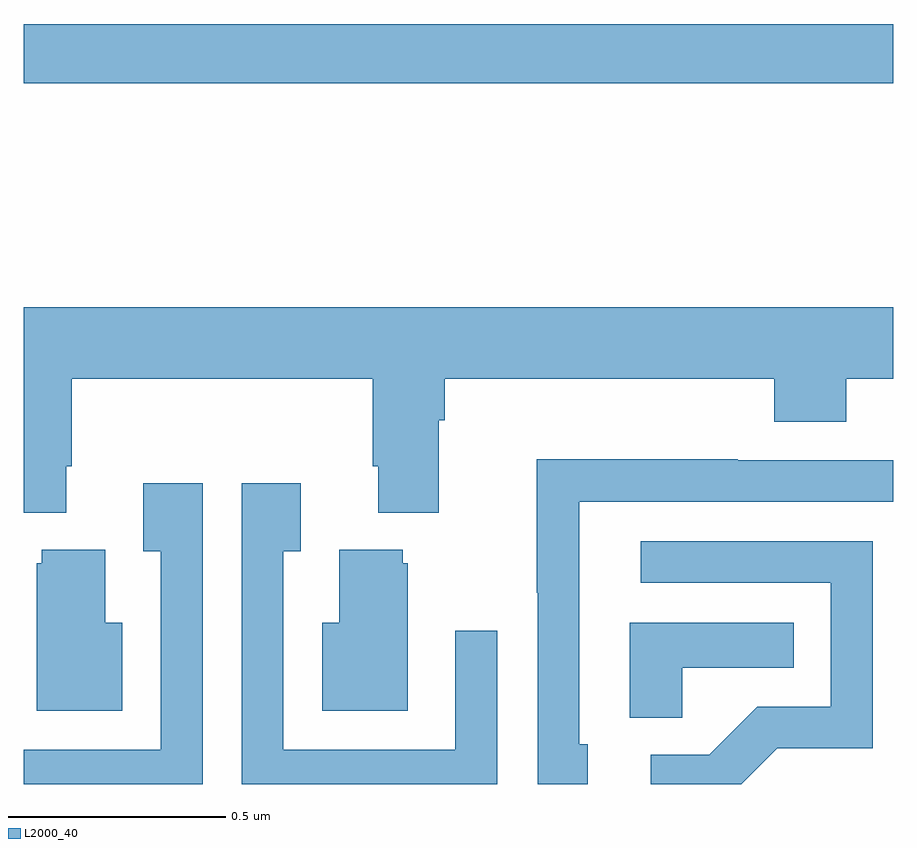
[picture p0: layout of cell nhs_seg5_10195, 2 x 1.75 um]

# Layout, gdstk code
import gdstk
lib = gdstk.Library(unit=1e-6, precision=1e-09)
def R(c, l, rs):  # rectangles x0, y0, x1, y1
    for r in rs: c.add(gdstk.rectangle(r[:2], r[2:], *l))
def P(c, l, *ps):  # polygons
    for p in ps: c.add(gdstk.Polygon(p, *l))
L2000_40 = (2000, 40)

nhs_seg5_10195 = lib.new_cell('nhs_seg5_10195')
R(nhs_seg5_10195, L2000_40, [(243,885.412,245,885.548)])
P(nhs_seg5_10195, L2000_40, [(243.097,884.53),(243.11,884.53),(243.11,884.732),(243.803,884.732),(243.803,884.53),(243.815,884.53),(243.815,884.423),(243.955,884.423),(243.955,884.636),(243.968,884.636),(243.968,884.732),(244.727,884.732),(244.727,884.633),(244.892,884.633),(244.892,884.732),(245,884.732),(245,884.896),(243,884.896),(243,884.423),(243.097,884.423)],
  [(244.297,883.89),(244.278,883.89),(244.278,884.448),(245,884.448),(245,884.544),(244.643,884.544),(244.643,884.546),(244.18,884.546),(244.18,884.239),(244.182,884.239),(244.182,883.799),(244.297,883.799)],
  [(244.089,884.152),(243.993,884.152),(243.993,883.878),(243.597,883.878),(243.597,884.335),(243.637,884.335),(243.637,884.491),(243.501,884.491),(243.501,883.799),(244.089,883.799)],
  [(243.411,884.491),(243.275,884.491),(243.275,884.335),(243.315,884.335),(243.315,883.878),(243,883.878),(243,883.799),(243.411,883.799)],
  [(244.734,883.881),(244.953,883.881),(244.953,884.358),(244.419,884.358),(244.419,884.262),(244.857,884.262),(244.857,883.977),(244.688,883.977),(244.577,883.866),(244.443,883.866),(244.443,883.799),(244.651,883.799)],
  [(243.883,884.307),(243.872,884.307),(243.872,884.338),(243.725,884.338),(243.725,884.17),(243.686,884.17),(243.686,883.967),(243.883,883.967)],
  [(243.226,884.17),(243.187,884.17),(243.187,884.338),(243.041,884.338),(243.041,884.307),(243.029,884.307),(243.029,883.967),(243.226,883.967)],
  [(244.515,884.066),(244.772,884.066),(244.772,884.17),(244.394,884.17),(244.394,883.951),(244.515,883.951)])

lib.write_gds('nhs_seg5_10195.gds')
